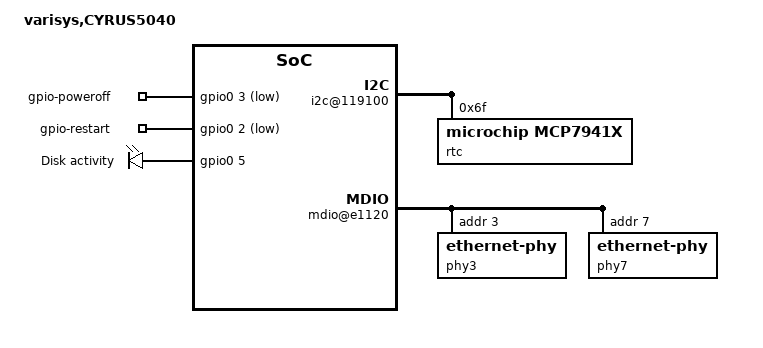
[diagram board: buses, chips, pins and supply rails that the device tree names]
/*
 * Cyrus 5040 Device Tree Source, based on p5040ds.dts
 *
 * Copyright 2020 Darren Stevens
 *
 * p5040ds.dts Copyright 2012 - 2015 Freescale Semiconductor Inc.
 *
 * Redistribution and use in source and binary forms, with or without
 * modification, are permitted provided that the following conditions are met:
 *     * Redistributions of source code must retain the above copyright
 *       notice, this list of conditions and the following disclaimer.
 *     * Redistributions in binary form must reproduce the above copyright
 *       notice, this list of conditions and the following disclaimer in the
 *       documentation and/or other materials provided with the distribution.
 *     * Neither the name of Freescale Semiconductor nor the
 *       names of its contributors may be used to endorse or promote products
 *       derived from this software without specific prior written permission.
 *
 *
 * ALTERNATIVELY, this software may be distributed under the terms of the
 * GNU General Public License ("GPL") as published by the Free Software
 * Foundation, either version 2 of that License or (at your option) any
 * later version.
 *
 * This software is provided by Freescale Semiconductor "as is" and any
 * express or implied warranties, including, but not limited to, the implied
 * warranties of merchantability and fitness for a particular purpose are
 * disclaimed. In no event shall Freescale Semiconductor be liable for any
 * direct, indirect, incidental, special, exemplary, or consequential damages
 * (including, but not limited to, procurement of substitute goods or services;
 * loss of use, data, or profits; or business interruption) however caused and
 * on any theory of liability, whether in contract, strict liability, or tort
 * (including negligence or otherwise) arising in any way out of the use of this
 * software, even if advised of the possibility of such damage.
 */

/include/ "p5040si-pre.dtsi"

/ {
	model = "varisys,CYRUS5040";
	compatible = "varisys,CYRUS";
	#address-cells = <2>;
	#size-cells = <2>;
	interrupt-parent = <&mpic>;

	aliases{
		ethernet0 = &enet4;
		ethernet1 = &enet10;
	};

	memory {
		device_type = "memory";
	};

	reserved-memory {
		#address-cells = <2>;
		#size-cells = <2>;
		ranges;

		bman_fbpr: bman-fbpr {
			size = <0 0x1000000>;
			alignment = <0 0x1000000>;
		};
		qman_fqd: qman-fqd {
			size = <0 0x400000>;
			alignment = <0 0x400000>;
		};
		qman_pfdr: qman-pfdr {
			size = <0 0x2000000>;
			alignment = <0 0x2000000>;
		};
	};

	dcsr: dcsr@f00000000 {
		ranges = <0x00000000 0xf 0x00000000 0x01008000>;
	};

	bportals: bman-portals@ff4000000 {
		ranges = <0x0 0xf 0xf4000000 0x200000>;
	};

	qportals: qman-portals@ff4200000 {
		ranges = <0x0 0xf 0xf4200000 0x200000>;
	};

	soc: soc@ffe000000 {
		ranges = <0x00000000 0xf 0xfe000000 0x1000000>;
		reg = <0xf 0xfe000000 0 0x00001000>;
		spi@110000 {
		};

		i2c@118100 {
		};

		i2c@119100 {
			rtc@6f {
				compatible = "microchip,mcp7941x";
				reg = <0x6f>;
			};
		};

		gpio-poweroff {
			compatible = "gpio-poweroff";
			gpios = <&gpio0 3 1>;
		};

		gpio-restart {
			compatible = "gpio-restart";
			gpios = <&gpio0 2 1>;
		};

		leds {
			compatible = "gpio-leds";
			hdd {
				label = "Disk activity";
				gpios = <&gpio0 5 0>;
				linux,default-trigger = "disk-activity";
			};
		};

		fman@400000 {
			mdio@e1120 {
				phy3: ethernet-phy@3 {
					reg = <0x3>;
				};

				phy7: ethernet-phy@7 {
					reg = <0x7>;
				};
			};

			ethernet@e0000 {
				status = "disabled";
			};

			ethernet@e2000 {
				status = "disabled";
			};

			ethernet@e4000 {
				status = "disabled";
			};

			ethernet@e6000 {
				status = "disabled";
			};

			ethernet@e8000 {
				phy-handle = <&phy3>;
				phy-connection-type = "rgmii";
			};

		};

		fman@500000 {
			ethernet@e0000 {
				status = "disabled";
			};

			ethernet@e2000 {
				status = "disabled";
			};

			ethernet@e4000 {
				status = "disabled";
			};

			ethernet@e6000 {
				status = "disabled";
			};

			ethernet@e8000 {
				phy-handle = <&phy7>;
				phy-connection-type = "rgmii";
			};

		};

	};

	lbc: localbus@ffe124000 {
		reg = <0xf 0xfe124000 0 0x1000>;
		ranges = <0 0 0xf 0xe8000000 0x08000000
			  2 0 0xf 0xffa00000 0x00040000
			  3 0 0xf 0xffdf0000 0x00008000>;

	};

	pci0: pcie@ffe200000 {
		reg = <0xf 0xfe200000 0 0x1000>;
		ranges = <0x02000000 0 0xe0000000 0xc 0x00000000 0x0 0x20000000
			  0x01000000 0 0x00000000 0xf 0xf8000000 0x0 0x00010000>;
		pcie@0 {
			ranges = <0x02000000 0 0xe0000000
				  0x02000000 0 0xe0000000
				  0 0x20000000

				  0x01000000 0 0x00000000
				  0x01000000 0 0x00000000
				  0 0x00010000>;
		};
	};

	pci1: pcie@ffe201000 {
		reg = <0xf 0xfe201000 0 0x1000>;
		ranges = <0x02000000 0x0 0xe0000000 0xc 0x20000000 0x0 0x20000000
			  0x01000000 0x0 0x00000000 0xf 0xf8010000 0x0 0x00010000>;
		pcie@0 {
			ranges = <0x02000000 0 0xe0000000
				  0x02000000 0 0xe0000000
				  0 0x20000000

				  0x01000000 0 0x00000000
				  0x01000000 0 0x00000000
				  0 0x00010000>;
		};
	};

	pci2: pcie@ffe202000 {
		reg = <0xf 0xfe202000 0 0x1000>;
		ranges = <0x02000000 0 0xe0000000 0xc 0x40000000 0 0x20000000
			  0x01000000 0 0x00000000 0xf 0xf8020000 0 0x00010000>;
		pcie@0 {
			ranges = <0x02000000 0 0xe0000000
				  0x02000000 0 0xe0000000
				  0 0x20000000

				  0x01000000 0 0x00000000
				  0x01000000 0 0x00000000
				  0 0x00010000>;
		};
	};
};

/include/ "p5040si-post.dtsi"
